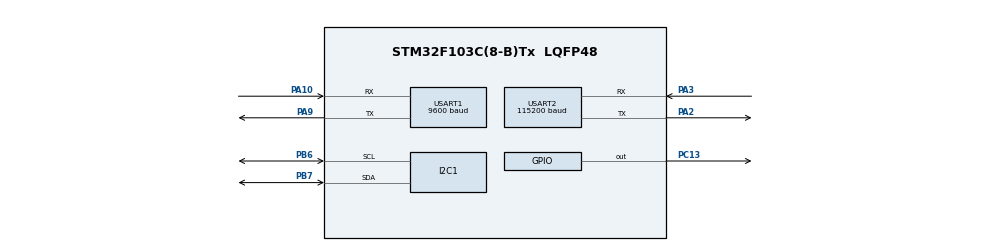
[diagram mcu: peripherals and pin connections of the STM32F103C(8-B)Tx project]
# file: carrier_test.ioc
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Mcu.Family=STM32F1
NVIC.DMA1_Channel5_IRQn=true\:0\:0\:false\:false\:true\:false\:true
PD1-OSC_OUT.Mode=HSE-External-Oscillator
Dma.USART1_RX.0.PeriphDataAlignment=DMA_PDATAALIGN_BYTE
PA10.Mode=Asynchronous
USART1.BaudRate=9600
PC13-TAMPER-RTC.Signal=GPIO_Output
PD0-OSC_IN.Signal=RCC_OSC_IN
NVIC.USART2_IRQn=true\:0\:0\:false\:false\:true\:true\:true
USART2.BaudRate=115200
ProjectManager.StackSize=0x400
PD1-OSC_OUT.Signal=RCC_OSC_OUT
PA13.Signal=SYS_JTMS-SWDIO
PA3.Mode=Asynchronous
PA9.Mode=Asynchronous
ProjectManager.TargetToolchain=STM32CubeIDE
Dma.USART1_RX.0.Direction=DMA_PERIPH_TO_MEMORY
PA9.Signal=USART1_TX
PB6.Signal=I2C1_SCL
PB6.Mode=I2C
Dma.USART1_RX.0.PeriphInc=DMA_PINC_DISABLE
Dma.USART1_RX.0.Priority=DMA_PRIORITY_LOW
PD0-OSC_IN.Mode=HSE-External-Oscillator
board=custom
RCC.APB2Freq_Value=8000000
PA14.Mode=Serial_Wire
Dma.USART1_RX.0.MemDataAlignment=DMA_MDATAALIGN_BYTE
PB7.Signal=I2C1_SDA
Dma.USART1_RX.0.MemInc=DMA_MINC_ENABLE
PA13.Mode=Serial_Wire
Mcu.Name=STM32F103C(8-B)Tx
PA2.Signal=USART2_TX
Mcu.Package=LQFP48
USART2.VirtualMode=VM_ASYNC
USART1.VirtualMode=VM_ASYNC
PB7.Mode=I2C
PA10.Signal=USART1_RX
PA14.Signal=SYS_JTCK-SWCLK
ProjectManager.HeapSize=0x200
NVIC.PriorityGroup=NVIC_PRIORITYGROUP_4
PA2.Mode=Asynchronous
Dma.USART1_RX.0.Mode=DMA_NORMAL
Dma.Request0=USART1_RX
RCC.APB1Freq_Value=8000000
Dma.USART1_RX.0.Instance=DMA1_Channel5
PA3.Signal=USART2_RX

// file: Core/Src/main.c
/* USER CODE BEGIN Header */
/**
  ******************************************************************************
  * @file           : main.c
  * @brief          : Main program body
  ******************************************************************************
  * @attention
  *
  * <h2><center>&copy; Copyright (c) 2022 STMicroelectronics.
  * All rights reserved.</center></h2>
  *
  * This software component is licensed by ST under BSD 3-Clause license,
  * the "License"; You may not use this file except in compliance with the
  * License. You may obtain a copy of the License at:
  *                        opensource.org/licenses/BSD-3-Clause
  *
  ******************************************************************************
  */
/* USER CODE END Header */
#include "main.h"
#include "dma.h"
#include "i2c.h"
#include "usart.h"
#include "gpio.h"

/* USER CODE BEGIN Includes */

//#include "BMP280.h"
#include "GPS.h"
//#include "bmp180.h"
#include "BMP280.h"
/* USER CODE END Includes */

/* USER CODE BEGIN PTD */
//float Roll = 45, Pitch = 30, Yaw = 127; //BMX160 and BMP388 variables
double temperature, press, alti;
 int  i  = 0;
float temperature2, press2, alti2; //MS5611 variables
float altitudeDif = 0;

uint8_t address[16];
//gps controller
uint8_t RAW_GPS[512];

//Xbee değişkenleri
char Xbee_Buffer[256];

uint8_t xbee_rx_buffer[256];
uint8_t rxBuffer;
uint8_t rxBufferCounter = 0;
uint8_t dataArrived = 0;

// Görev yükü data
uint8_t gHour, gSec, gMin;
uint16_t gPacketCount = 0;
double gPressure, gTemperature, gAltitude;
float gVelocity;
float gVoltage;
double gGPSLongitude, gGPSAltitude, gGPSLatitude;
char gCURRENT_STATE_STRING[20];
double gRoll, gPitch, gYaw;
int gRotationCount;
char gVIDEO_STATE[16];
/* USER CODE END PTD */

/* USER CODE BEGIN PV */
long lastUpdate;
/* USER CODE END PV */

void SystemClock_Config(void);
/* USER CODE BEGIN PFP */

void HAL_UART_RxCpltCallback(UART_HandleTypeDef * huart);
void sw_init(void);
/* USER CODE END PFP */

/* USER CODE BEGIN 0 */
//extern DS3231 rtc;
/* USER CODE END 0 */

int main(void)
{

  /* MCU Configuration--------------------------------------------------------*/

  /* Reset of all peripherals, Initializes the Flash interface and the Systick. */
  HAL_Init();

  /* Configure the system clock */
  SystemClock_Config();

  /* Initialize all configured peripherals */
  MX_GPIO_Init();
  MX_DMA_Init();
  MX_USART1_UART_Init();
  MX_USART2_UART_Init();
  MX_I2C1_Init();
  /* USER CODE BEGIN 2 */

 /*int k = 0;
   for( i = 0; i<255; i++)
   {
 	  if(!HAL_I2C_IsDeviceReady(&hi2c1, i, 1, 100))
 	  {
 		  address[k] = i;
 		  k++;
 		  i++;
 	  }
   }*/
  //sprintf((char *)RAW_GPS,"$GPGGA,124843.00,3952.22921,N,03244.06415,E,1,08,1.15,1055.8,M,36.0,M,,*65");
  sw_init();    //software initilazing
  /* USER CODE END 2 */

  /* Infinite loop */
  /* USER CODE BEGIN WHILE */
  while (1)
  {
	//BMP388 ve BMX160 kodları
	//MPU9250_getEulerAngles(&Roll, &Pitch, &Yaw);

	//alti = BMP388_readAltitude(press, 1013.25);
	//BMP388_readData(&temperature, &press);

	//BMP280 kodları
	//press2 = BMP280_ReadPressure();
	//temperature2 = BMP280_ReadTemperature();
	//alti2= BMP280_ReadAltitude(101325);

	 //GPS verileri

	//RTC verileri
	//DS3231_getTime();

	//veri aktarımı ve veriler
	//sprintf(Xbee_Buffer, "395669,%.1f,%.1f,%.1f, %.1f\r\n", press2,hgps.GPGGA.LatitudeDecimal,hgps.GPGGA.LongitudeDecimal,hgps.GPGGA.MSL_Altitude);
	if(HAL_GetTick() - lastUpdate >= 950) // saniyede bir yeni veri gönderir
	{
		GPS_Process((char)*RAW_GPS);
		//press = BMP180_GetPress(1);
		BMP280Temp_Pres_Calc(&temperature, &press);
		sprintf(Xbee_Buffer, "395669,%.1f,%f,%f,%f\r\n", press, hgps
				.GPGGA.LatitudeDecimal,hgps.GPGGA.LongitudeDecimal,hgps.GPGGA.MSL_Altitude);
		HAL_UART_Transmit(&huart2, (uint8_t*)Xbee_Buffer, strlen(Xbee_Buffer),100);
		HAL_GPIO_TogglePin(GPIOC, GPIO_PIN_13);
		lastUpdate = HAL_GetTick();
	}

    /* USER CODE END WHILE */

  }
}

void SystemClock_Config(void)
{
  RCC_OscInitTypeDef RCC_OscInitStruct = {0};
  RCC_ClkInitTypeDef RCC_ClkInitStruct = {0};

  /** Initializes the RCC Oscillators according to the specified parameters
  * in the RCC_OscInitTypeDef structure.
  */
  RCC_OscInitStruct.OscillatorType = RCC_OSCILLATORTYPE_HSI;
  RCC_OscInitStruct.HSIState = RCC_HSI_ON;
  RCC_OscInitStruct.HSICalibrationValue = RCC_HSICALIBRATION_DEFAULT;
  RCC_OscInitStruct.PLL.PLLState = RCC_PLL_NONE;
  if (HAL_RCC_OscConfig(&RCC_OscInitStruct) != HAL_OK)
  {
    Error_Handler();
  }
  /** Initializes the CPU, AHB and APB buses clocks
  */
  RCC_ClkInitStruct.ClockType = RCC_CLOCKTYPE_HCLK|RCC_CLOCKTYPE_SYSCLK
                              |RCC_CLOCKTYPE_PCLK1|RCC_CLOCKTYPE_PCLK2;
  RCC_ClkInitStruct.SYSCLKSource = RCC_SYSCLKSOURCE_HSI;
  RCC_ClkInitStruct.AHBCLKDivider = RCC_SYSCLK_DIV1;
  RCC_ClkInitStruct.APB1CLKDivider = RCC_HCLK_DIV1;
  RCC_ClkInitStruct.APB2CLKDivider = RCC_HCLK_DIV1;

  if (HAL_RCC_ClockConfig(&RCC_ClkInitStruct, FLASH_LATENCY_0) != HAL_OK)
  {
    Error_Handler();
  }
}

/* USER CODE BEGIN 4 */
void sw_init(void){

//HAL_UART_RxCpltCallback(&huart1);
	// GPS Start
	HAL_UART_Receive_DMA(&huart1, RAW_GPS, 512);

	// XBee receive start
	HAL_UART_Receive_IT(&huart2, &rxBuffer, 1);

	//BMP180_Start();
	BMP280_Init(BMP280_MODE_NORMAL, BMP280_SAMPLING_X1, BMP280_SAMPLING_X1, BMP280_FILTER_OFF, BMP280_STANDBY_MS_1);

}

void HAL_UART_RxCpltCallback(UART_HandleTypeDef * huart)
{
	if(huart->Instance == huart1.Instance)
	{
		HAL_UART_Receive_DMA(&huart1, RAW_GPS, 512);
	}

}
/* USER CODE END 4 */

void Error_Handler(void)
{
  __disable_irq();
  while (1)
  {
  }
}

/************************ (C) COPYRIGHT STMicroelectronics *****END OF FILE****/
